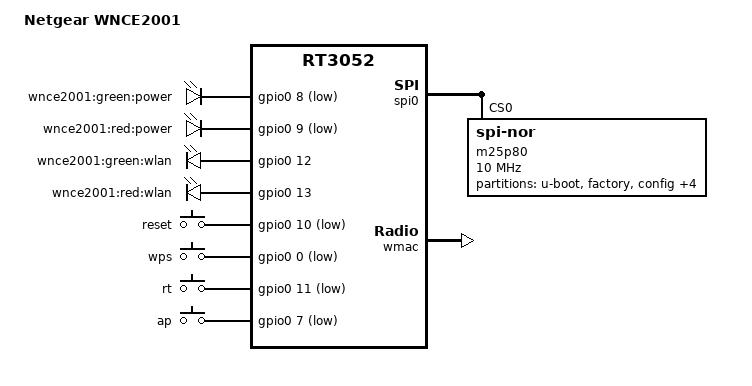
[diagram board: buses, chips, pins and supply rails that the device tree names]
/dts-v1/;

#include "rt3050.dtsi"

/ {
	compatible = "WNCE2001", "ralink,rt3052-soc";
	model = "Netgear WNCE2001";

	chosen {
		bootargs = "console=ttyS0,115200";
	};

	gpio-leds {
		compatible = "gpio-leds";

		power-green {
			label = "wnce2001:green:power";
			gpios = <&gpio0 8 1>;
		};

		power-red {
			label = "wnce2001:red:power";
			gpios = <&gpio0 9 1>;
		};

		wlan-green {
			label = "wnce2001:green:wlan";
			gpios = <&gpio0 12 0>;
		};

		wlan-red {
			label = "wnce2001:red:wlan";
			gpios = <&gpio0 13 0>;
		};
	};

	gpio-keys-polled {
		compatible = "gpio-keys-polled";
		#address-cells = <1>;
		#size-cells = <0>;
		poll-interval = <20>;

		reset {
			label = "reset";
			gpios = <&gpio0 10 1>;
			linux,code = <0x198>;
		};

		wps {
			label = "wps";
			gpios = <&gpio0 0 1>;
			linux,code = <0x211>;
		};

		rt {
			label = "rt";
			gpios = <&gpio0 11 1>;
			linux,code = <0x100>;
		};

		ap {
			label = "ap";
			gpios = <&gpio0 7 1>;
			linux,code = <0x101>;
		};
	};
};

&spi0 {
	status = "okay";

	m25p80@0 {
		#address-cells = <1>;
		#size-cells = <1>;
		compatible = "jedec,spi-nor";
		reg = <0>;
		linux,modalias = "m25p80", "mx25l3205d";
		spi-max-frequency = <10000000>;

		partition@0 {
			label = "u-boot";
			reg = <0x0 0x30000>;
			read-only;
		};

		factory: partition@30000 {
			label = "factory";
			reg = <0x30000 0x10000>;
			read-only;
		};

		partition@40000 {
			label = "config";
			reg = <0x40000 0x20000>;
			read-only;
		};

		partition@60000 {
			label = "language";
			reg = <0x60000 0x30000>;
			read-only;
		};

		partition@90000 {
			label = "pot";
			reg = <0x90000 0x10000>;
			read-only;
		};

		partition@a0000 {
			label = "checksum";
			reg = <0xa0000 0x10000>;
		};

		partition@b0000 {
			label = "firmware";
			reg = <0xb0000 0x350000>;
		};
	};
};

&pinctrl {
	state_default: pinctrl0 {
		gpio {
			ralink,group = "i2c", "jtag", "rgmii", "mdio", "uartf";
			ralink,function = "gpio";
		};
	};
};

&ethernet {
	mtd-mac-address = <&factory 0x28>;
};

&wmac {
	ralink,mtd-eeprom = <&factory 0>;
};
